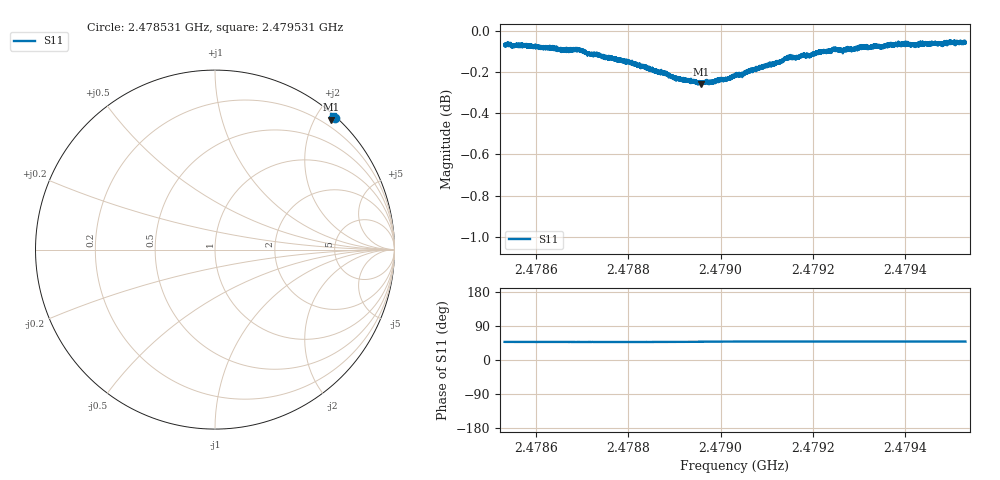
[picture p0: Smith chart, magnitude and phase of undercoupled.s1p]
!Agilent Technologies,N5221A,MY51411109,A.09.90.13
!Agilent N5221A: A.09.90.13
!Date: Wednesday, April 20, 2022 13:13:07
!Correction: S11(Full 1 Port(1))
!S1P File: Measurement: S11:
# Hz S  RI  R 50
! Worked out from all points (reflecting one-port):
!   20001 points, 2.478531 GHz to 2.479531 GHz, reference 50 ohm
!   lowest |S11| = -0.3 dB at 2.478958 GHz (marker M1), VSWR 66.86, Z = 4.49 + j112 ohm
!   phase of S11 starts at 48 deg and turns +1 deg over the sweep
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2.4785312e9  0.6663 0.7351
2.4785803e9  0.6681 0.7332
2.4786108e9  0.6669 0.7325
2.4786393e9  0.6679 0.7312
2.4786562e9  0.6664 0.7311
2.4786891e9  0.6671 0.731
2.4787145e9  0.6656 0.7287
2.4787324e9  0.6668 0.7278
2.4787812e9  0.665 0.7255
2.4788389e9  0.661 0.7225
2.4789062e9  0.6536 0.7217
2.4789263e9  0.6529 0.722
2.4789581e9  0.6473 0.7231
2.4790037e9  0.644 0.7298
2.4790168e9  0.6442 0.7307
2.4790312e9  0.6447 0.7324
2.4791069e9  0.6446 0.7406
2.4791419e9  0.6477 0.742
2.4791562e9  0.648 0.7424
2.4791929e9  0.6491 0.7425
2.4792464e9  0.6516 0.744
2.4792657e9  0.653 0.744
2.4792812e9  0.6522 0.7446
2.4793031e9  0.6529 0.7463
2.4793208e9  0.654 0.7456
2.4794062e9  0.6548 0.7456
2.4794793e9  0.6559 0.7446
2.4795312e9  0.6566 0.7453
